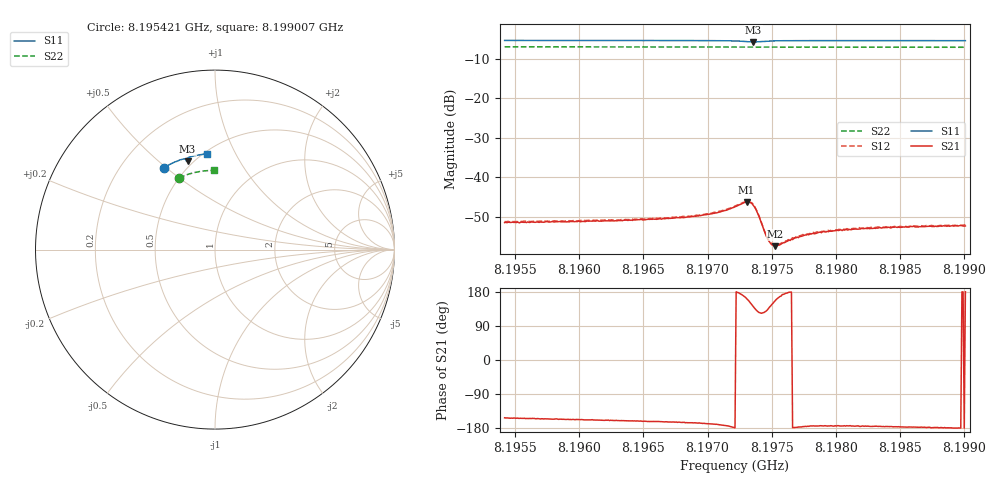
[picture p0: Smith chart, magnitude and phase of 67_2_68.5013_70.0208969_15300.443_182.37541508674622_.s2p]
#  HZ  S  RI  R  50.00
! Rohde & Schwarz Vector Network Analyzer
! Rohde-Schwarz,ZNB20-2Port,1311601062101988,3.16
! Created: UTC 3/20/2024, 4:51:35 PM
! freq[Hz]  re:S11  im:S11  re:S21  im:S21  re:S12  im:S12  re:S22  im:S22
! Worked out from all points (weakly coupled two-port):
!   401 points, 8.195421 GHz to 8.199007 GHz, reference 50 ohm
!   highest |S21| = -46.30 dB at 8.197304 GHz (marker M1); lowest = -57.5 dB at 8.197528 GHz (marker M2)
!   lowest |S11| = -5.8 dB at 8.197358 GHz (marker M3), VSWR 3.12, Z = 23.4 + j31.3 ohm
!   |S11| at or under -10 dB: nowhere
!   |S22| runs from -7.1 to -7.0 dB; largest |S21 - S12| = 0.00025
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8.1954207e9  -0.2829 0.4573  -0.00236 -0.00123  -0.00249 -0.00117  -0.1991 0.3998
8.1960215e9  -0.2453 0.4779  -0.00253 -0.00107  -0.00266 -0.000989  -0.1682 0.413
8.1966222e9  -0.2055 0.4955  -0.00283 -0.00089  -0.00292 -0.00078  -0.1361 0.4235
8.196945e9  -0.1823 0.5034  -0.00317 -0.000747  -0.00327 -0.000607  -0.1187 0.4283
8.1970795e9  -0.1713 0.5061  -0.00352 -0.000611  -0.00362 -0.000459  -0.1112 0.4299
8.197214e9  -0.1581 0.5061  -0.00421 -7.94e-05  -0.00431 0.0001  -0.1038 0.4314
8.1973037e9  -0.1492 0.4987  -0.00461 0.00147  -0.00461 0.00165  -0.0988 0.4322
8.1973306e9  -0.1496 0.4945  -0.00423 0.00224  -0.00418 0.00244  -0.0974 0.4323
8.1973575e9  -0.1527 0.4913  -0.00338 0.00279  -0.00334 0.00302  -0.096 0.4324
8.1973934e9  -0.1586 0.4924  -0.00206 0.00271  -0.00196 0.00285  -0.0942 0.4331
8.1974472e9  -0.1607 0.5003  -0.00118 0.00158  -0.00114 0.00166  -0.0915 0.4337
8.1974651e9  -0.1599 0.5027  -0.00113 0.00126  -0.00109 0.00134  -0.0904 0.434
8.197492e9  -0.1582 0.5055  -0.00115 0.000874  -0.00116 0.000947  -0.0888 0.4342
8.1975099e9  -0.1567 0.5072  -0.00119 0.000695  -0.00124 0.000723  -0.0879 0.4345
8.1975279e9  -0.1551 0.5086  -0.00123 0.000528  -0.00129 0.000581  -0.0869 0.4347
8.1975548e9  -0.153 0.5102  -0.00133 0.000349  -0.00135 0.000408  -0.0854 0.4349
8.1976713e9  -0.143 0.5149  -0.00167 -5.07e-05  -0.00169 -8.23e-07  -0.0789 0.436
8.1977251e9  -0.1387 0.5166  -0.00178 -0.000114  -0.00182 -3.75e-05  -0.0759 0.4364
8.1978148e9  -0.1318 0.5187  -0.00193 -0.000196  -0.00199 -9.03e-05  -0.0709 0.4372
8.198021e9  -0.1165 0.5224  -0.0021 -0.000242  -0.00218 -0.00013  -0.0592 0.4386
8.1984156e9  -0.088 0.5276  -0.00231 -0.000171  -0.00234 -8.03e-05  -0.037 0.4403
8.1990074e9  -0.046 0.5324  -0.00241 1.07e-06  -0.00249 0.000114  -0.00344 0.4408
